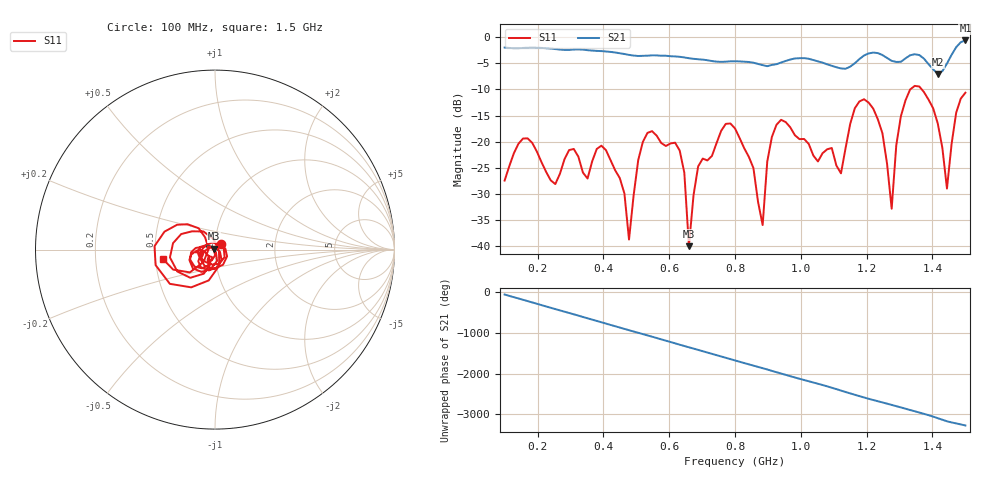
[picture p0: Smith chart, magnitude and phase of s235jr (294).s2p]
! NanoVNA-App
! Date: 2025-09-25 15:06:27
! Start: 100MHz Stop: 1,5GHz Points: 101
! S-Parameter data: F S11 S21 S12 S22
# Hz S RI R 50
!  Frequency  S11_Real  S11_Imag  S21_Real  S21_Imag  S12_Real  S12_Imag  S22_Real  S22_Imag
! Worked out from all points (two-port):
!   101 points, 100 MHz to 1.5 GHz, reference 50 ohm
!   highest |S21| = -0.61 dB at 1.5 GHz (marker M1); lowest = -7.1 dB at 1.416 GHz (marker M2)
!   |S21| within 3 dB of the highest: start of sweep to 601 MHz; 1.19 GHz to 1.253 GHz (63.47 MHz wide, 5.2 % of centre) (the widest 2 of 4)
!   lowest |S11| = -40.0 dB at 660 MHz (marker M3), VSWR 1.02, Z = 49.2 + j0.55 ohm
!   |S11| at or under -10 dB: start of sweep to 1.332 GHz; 1.367 GHz to end of sweep
!   S12 and S22 are empty: the file has one direction only
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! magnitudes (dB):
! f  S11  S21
! 100 MHz  -27.5  -2.0
! 156 MHz  -19.4  -2.0
! 338 MHz  -25.9  -2.4
! 408 MHz  -21.6  -2.7
! 478 MHz  -38.8  -3.4
! 520 MHz  -20.1  -3.6
! 576 MHz  -20.3  -3.5
! 632 MHz  -21.7  -3.7
! 660 MHz  -40.0  -4.0
! 688 MHz  -24.8  -4.2
! 800 MHz  -17.5  -4.6
! 884 MHz  -36.0  -5.3
! 926 MHz  -16.8  -5.2
! 1.038 GHz  -22.7  -4.4
! 1.122 GHz  -26.1  -6.0
! 1.192 GHz  -11.9  -3.5
! 1.248 GHz  -18.4  -3.4
! 1.276 GHz  -32.9  -4.5
! 1.332 GHz  -10.0  -3.4
! 1.416 GHz  -16.5  -7.1
! 1.444 GHz  -29.0  -5.0
! 1.5 GHz  -10.6  -0.6
